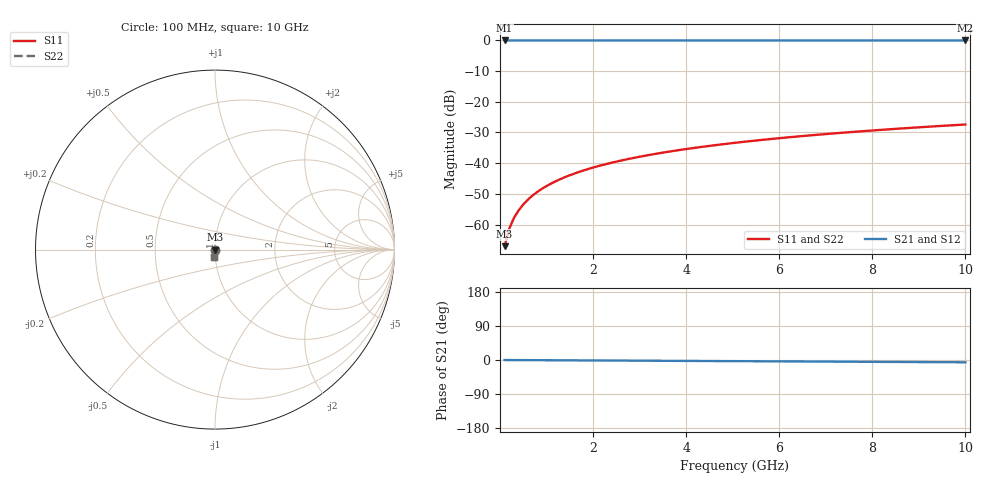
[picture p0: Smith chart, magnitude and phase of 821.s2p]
# Hz S RI R 50.00
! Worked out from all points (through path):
!   100 points, 100 MHz to 10 GHz, reference 50 ohm
!   highest |S21| = 0.00 dB at 100 MHz (marker M1); lowest = 0.0 dB at 10 GHz (marker M2)
!   lowest |S11| = -67.0 dB at 100 MHz (marker M3), VSWR 1.00, Z = 50 - j0.0424 ohm
!   |S11| at or under -10 dB: start of sweep to end of sweep
!   |S22| runs from -67.0 to -27.4 dB; largest |S21 - S12| = 0
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1e8  0.000134 -0.000423  0.9999 -0.00104  0.9999 -0.00104  0.000134 -0.000423
2e8  0.000133 -0.000847  0.9999 -0.00208  0.9999 -0.00208  0.000133 -0.000847
3e8  0.000131 -0.00127  0.9999 -0.00313  0.9999 -0.00313  0.000131 -0.00127
4e8  0.000127 -0.00169  0.9998 -0.00417  0.9998 -0.00417  0.000127 -0.00169
5e8  0.000123 -0.00212  0.9998 -0.00521  0.9998 -0.00521  0.000123 -0.00212
6e8  0.000118 -0.00254  0.9998 -0.00626  0.9998 -0.00626  0.000118 -0.00254
7e8  0.000112 -0.00296  0.9998 -0.0073  0.9998 -0.0073  0.000112 -0.00296
8e8  0.000105 -0.00339  0.9998 -0.00834  0.9998 -0.00834  0.000105 -0.00339
9e8  9.73e-05 -0.00381  0.9998 -0.00938  0.9998 -0.00938  9.73e-05 -0.00381
1.1e9  7.88e-05 -0.00466  0.9998 -0.0115  0.9998 -0.0115  7.88e-05 -0.00466
1.4e9  4.44e-05 -0.00593  0.9997 -0.0146  0.9997 -0.0146  4.44e-05 -0.00593
1.8e9  -1.41e-05 -0.00763  0.9996 -0.0188  0.9996 -0.0188  -1.41e-05 -0.00763
2.1e9  -6.73e-05 -0.0089  0.9996 -0.0219  0.9996 -0.0219  -6.73e-05 -0.0089
2.5e9  -0.000151 -0.0106  0.9994 -0.0261  0.9994 -0.0261  -0.000151 -0.0106
2.9e9  -0.000249 -0.0123  0.9993 -0.0303  0.9993 -0.0303  -0.000249 -0.0123
3.4e9  -0.000391 -0.0144  0.9991 -0.0355  0.9991 -0.0355  -0.000391 -0.0144
4.2e9  -0.000666 -0.0178  0.9987 -0.0439  0.9987 -0.0439  -0.000666 -0.0178
5.1e9  -0.00104 -0.0217  0.9982 -0.0533  0.9982 -0.0533  -0.00104 -0.0217
5.9e9  -0.00144 -0.0251  0.9976 -0.0617  0.9976 -0.0617  -0.00144 -0.0251
6.7e9  -0.0019 -0.0285  0.9969 -0.0701  0.9969 -0.0701  -0.0019 -0.0285
8.4e9  -0.00306 -0.0357  0.9953 -0.088  0.9953 -0.088  -0.00306 -0.0357
1e10  -0.00439 -0.0425  0.9933 -0.1048  0.9933 -0.1048  -0.00439 -0.0425
